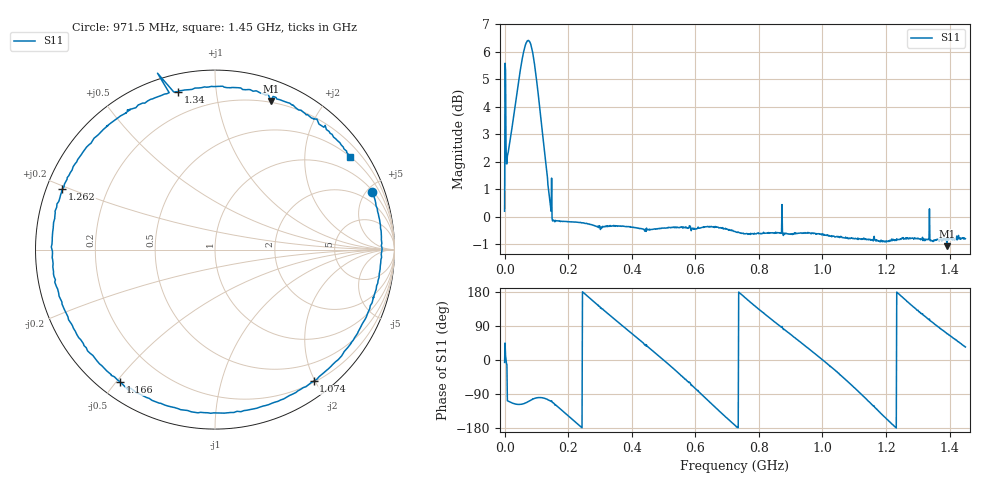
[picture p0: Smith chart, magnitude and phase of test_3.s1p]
! Created with skrf 1.11.0 (http://scikit-rf.org).
# Hz S RI R 50.0
!freq ReS11 ImS11
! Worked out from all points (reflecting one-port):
!   1001 points, 50 kHz to 1.45 GHz, reference 50 ohm
!   lowest |S11| = -1.1 dB at 1.392 GHz (marker M1), VSWR 16.30, Z = 9.39 + j71.4 ohm
!   phase of S11 starts at -6 deg and turns -1039 deg over the sweep
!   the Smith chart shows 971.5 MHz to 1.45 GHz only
!   S11 on the Smith chart (normalised r, x): 971.5 MHz: 1.12, +5.45; 1.074 GHz: 0.22, -1.98; 1.166 GHz: 0.06, -0.51; 1.262 GHz: 0.05, +0.19; 1.34 GHz: 0.08, +0.79; 1.45 GHz: 0.51, +3.16
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50000  1.018 -0.1122
1.599945e7  -0.4767 -1.274
5.079825e7  -0.8502 -1.661
7.54474e7  -0.6916 -1.972
1.17496e8  -0.2422 -1.428
1.812938e8  -0.6747 -0.7122
2.639409e8  -0.9422 0.2315
3.625375e8  -0.103 0.9562
4.103858e8  0.4358 0.8509
4.65484e8  0.8635 0.3937
5.437812e8  0.8117 -0.5077
5.916296e8  0.3453 -0.8868
6.307782e8  -0.1566 -0.9454
6.815265e8  -0.7246 -0.6194
7.25025e8  -0.9319 -0.1263
8.236216e8  -0.4376 0.8253
9.062688e8  0.4165 0.8299
9.715165e8  0.876 0.3184
1.022265e9  0.8941 -0.232
1.074463e9  0.5492 -0.7333
1.087512e9  0.4157 -0.8126
1.16581e9  -0.529 -0.7365
1.215108e9  -0.877 -0.2188
1.261506e9  -0.8515 0.3359
1.268756e9  -0.8142 0.4123
1.339804e9  -0.2067 0.8805
1.392002e9  0.3111 0.8279
1.45e9  0.7538 0.5143
